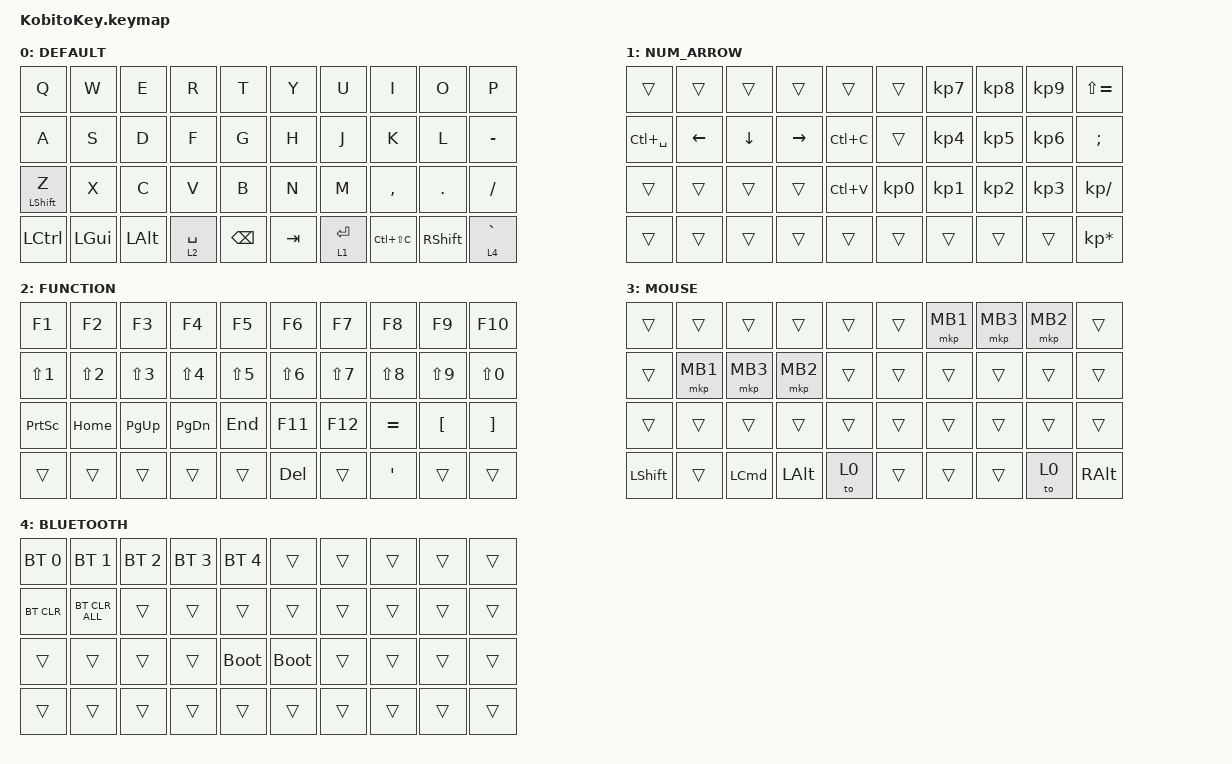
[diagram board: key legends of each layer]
#include <input/processors.dtsi>
#include <behaviors.dtsi>
#include <dt-bindings/zmk/bt.h>
#include <dt-bindings/zmk/keys.h>
#include <dt-bindings/zmk/pointing.h>

/*
 * キーポジション（4行×10列）
 *  0  1  2  3  4     5  6  7  8  9
 * 10 11 12 13 14    15 16 17 18 19
 * 20 21 22 23 24    25 26 27 28 29
 * 30 31 32 33 34    35 36 37 38 39
 * 32〜34が左親指、35〜37が右親指
 */

/ {
    combos {
        compatible = "zmk,combos";

        /* 各コンボは、2キーとも別機能が割り当たっているレイヤーでは無効にする */

        combo_eisu {
            timeout-ms = <50>;
            key-positions = <12 13>;
            bindings = <&kp LANG2>;
            layers = <0>;
        };

        combo_kana {
            timeout-ms = <50>;
            key-positions = <16 17>;
            bindings = <&kp LANG1>;
            layers = <0 3 4>;
        };

        combo_esc {
            timeout-ms = <50>;
            key-positions = <0 1>;
            bindings = <&kp ESC>;
            layers = <0 1 3>;
        };

        combo_tab {
            timeout-ms = <50>;
            key-positions = <10 11>;
            bindings = <&kp TAB>;
            layers = <0>;
        };

        /* 右Shift＋`/L4 の同時押しでEsc。Shift→` で「~」を打つときの誤爆を防ぐため判定を短くする */
        combo_esc_right {
            timeout-ms = <30>;
            require-prior-idle-ms = <150>;
            key-positions = <38 39>;
            bindings = <&kp ESC>;
            layers = <0 2>;
        };
    };

    keymap {
        compatible = "zmk,keymap";

        default_layer {
            label = "DEFAULT";
            bindings = <
&kp Q         &kp W     &kp E     &kp R        &kp T     &kp Y    &kp U        &kp I          &kp O      &kp P
&kp A         &kp S     &kp D     &kp F        &kp G     &kp H    &kp J        &kp K          &kp L      &kp MINUS
&mt LSHFT Z   &kp X     &kp C     &kp V        &kp B     &kp N    &kp M        &kp COMMA      &kp DOT    &kp SLASH
&kp LCTRL     &kp LGUI  &kp LALT  &lt 2 SPACE  &kp BSPC  &kp TAB  &lt 1 ENTER  &kp LC(LS(C))  &kp RSHFT  &lt 4 GRAVE
            >;
        };

        layer1 {
            label = "NUM_ARROW";
            bindings = <
&trans         &trans     &trans    &trans     &trans     &trans     &kp KP_N7  &kp KP_N8  &kp KP_N9  &kp LS(EQUAL)
&kp LC(SPACE)  &kp LEFT   &kp DOWN  &kp RIGHT  &kp LC(C)  &trans     &kp KP_N4  &kp KP_N5  &kp KP_N6  &kp SEMI
&trans         &trans     &trans    &trans     &kp LC(V)  &kp KP_N0  &kp KP_N1  &kp KP_N2  &kp KP_N3  &kp KP_SLASH
&trans         &trans     &trans    &trans     &trans     &trans     &trans     &trans     &trans     &kp KP_ASTERISK
            >;
        };

        layer2 {
            label = "FUNCTION";
            bindings = <
&kp F1      &kp F2      &kp F3      &kp F4      &kp F5      &kp F6      &kp F7      &kp F8      &kp F9      &kp F10
&kp LS(N1)  &kp LS(N2)  &kp LS(N3)  &kp LS(N4)  &kp LS(N5)  &kp LS(N6)  &kp LS(N7)  &kp LS(N8)  &kp LS(N9)  &kp LS(N0)
&kp PSCRN   &kp HOME    &kp PG_UP   &kp PG_DN   &kp END     &kp F11     &kp F12     &kp EQUAL   &kp LBKT    &kp RBKT
&trans      &trans      &trans      &trans      &trans      &kp DEL     &trans      &kp SQT     &trans      &trans
            >;
        };

        layer3 {
            label = "MOUSE";
            bindings = <
&trans     &trans    &trans    &trans    &trans  &trans  &mkp MB1  &mkp MB3  &mkp MB2  &trans
&trans     &mkp MB1  &mkp MB3  &mkp MB2  &trans  &trans  &trans    &trans    &trans    &trans
&trans     &trans    &trans    &trans    &trans  &trans  &trans    &trans    &trans    &trans
&kp LSHFT  &trans    &kp LCMD  &kp LALT  &to 0   &trans  &trans    &trans    &to 0     &kp RALT
            >;
        };

        layer4 {
            label = "BLUETOOTH";
            bindings = <
&bt BT_SEL 0  &bt BT_SEL 1    &bt BT_SEL 2  &bt BT_SEL 3  &bt BT_SEL 4  &trans       &trans  &trans  &trans  &trans
&bt BT_CLR    &bt BT_CLR_ALL  &trans        &trans        &trans        &trans       &trans  &trans  &trans  &trans
&trans        &trans          &trans        &trans        &bootloader   &bootloader  &trans  &trans  &trans  &trans
&trans        &trans          &trans        &trans        &trans        &trans       &trans  &trans  &trans  &trans
            >;
        };
    };
};
